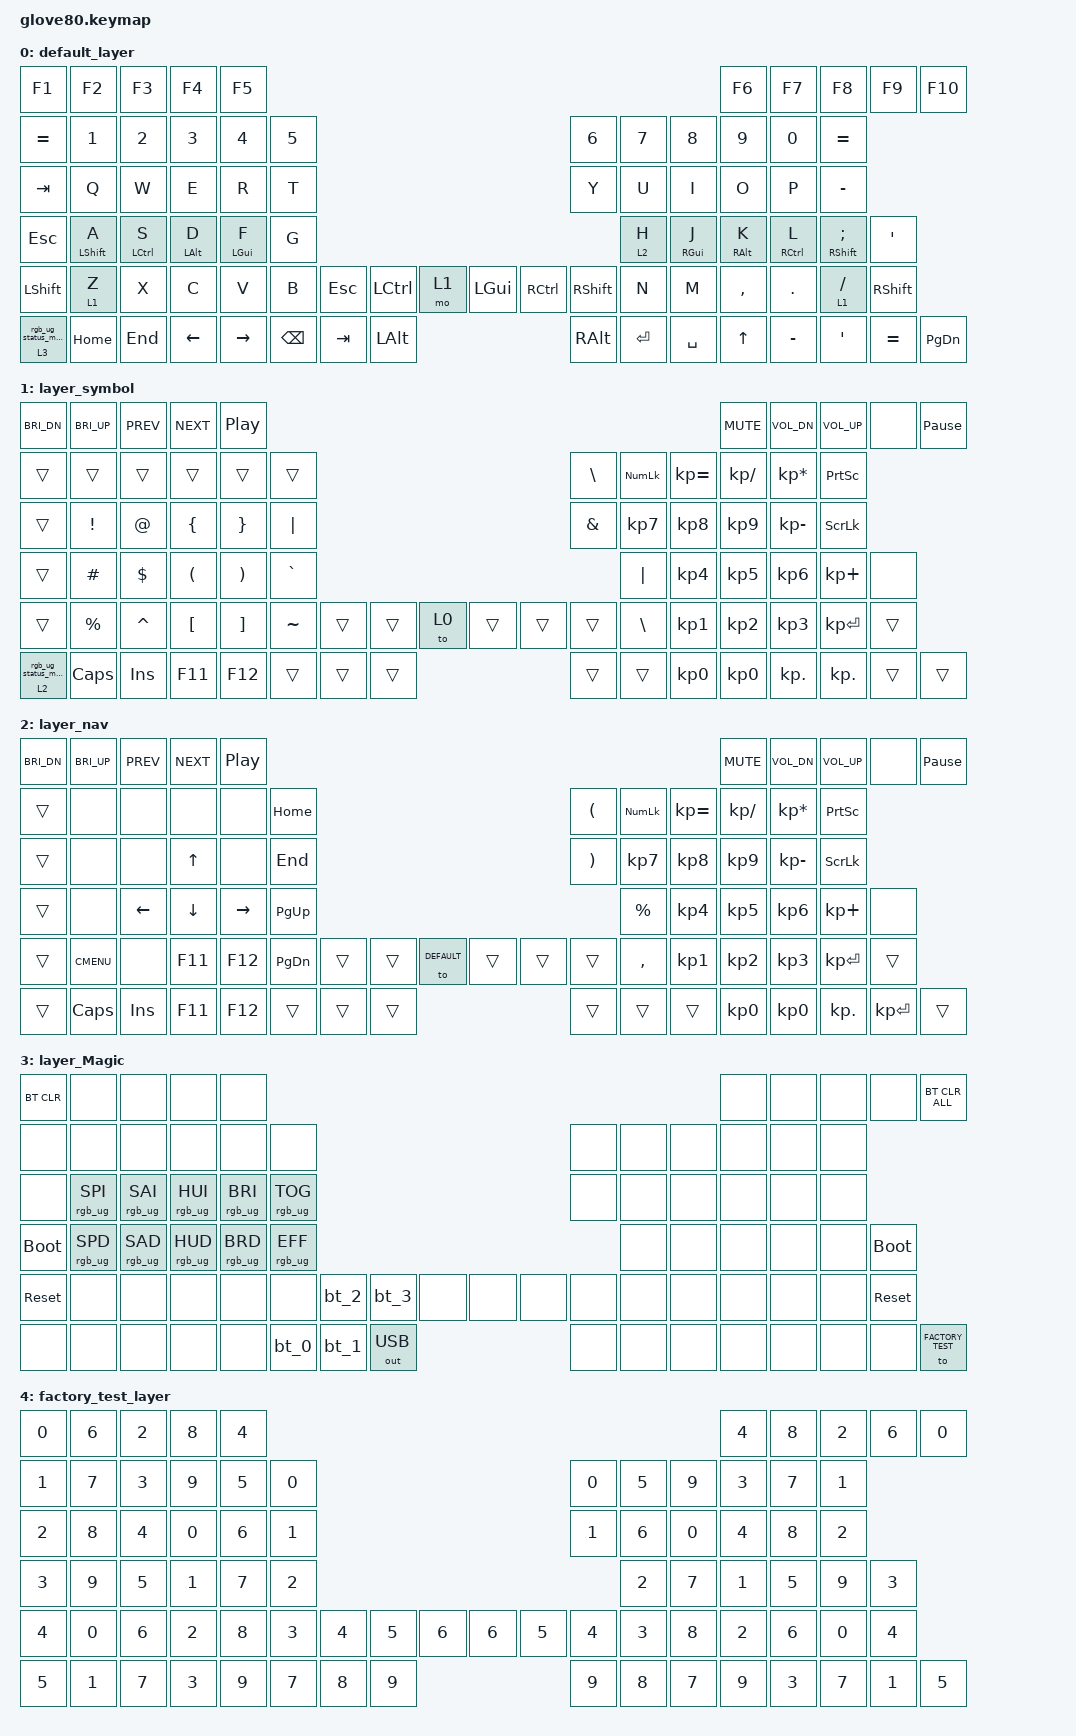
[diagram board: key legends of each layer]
/*
 * Copyright (c) 2020 The ZMK Contributors
 *
 * SPDX-License-Identifier: MIT
 */

#include <behaviors.dtsi>
#include <dt-bindings/zmk/keys.h>
#include <dt-bindings/zmk/bt.h>
#include <dt-bindings/zmk/ext_power.h>
#include <dt-bindings/zmk/outputs.h>
#include <dt-bindings/zmk/rgb.h>

#define HYPER LC(LS(LG(LALT)))

// layers
#define DEFAULT 0
#define LOWER 1
#define MAGIC 2
#define FACTORY_TEST 3

/ {
    behaviors {
        // For the "layer" key, it'd nice to be able to use it as either a shift or a toggle.
        // Configure it as a tap dance, so the first tap (or hold) is a &mo and the second tap is a &to
        layer_td: tap_dance_0 {
            compatible = "zmk,behavior-tap-dance";
            label = "LAYER_TAP_DANCE";
            #binding-cells = <0>;
            tapping-term-ms = <200>;
            bindings = <&mo LOWER>, <&to LOWER>;
        };

        magic: magic_hold_tap {
            compatible = "zmk,behavior-hold-tap";
            label = "MAGIC_HOLD_TAP";
            #binding-cells = <2>;
            flavor = "tap-preferred";
            tapping-term-ms = <200>;
            bindings = <&mo>, <&rgb_ug_status_macro>;
        };

       hm: homerow_mods {
          compatible = "zmk,behavior-hold-tap";
          label = "HOMEROW_MODS";
          #binding-cells = <2>;
          tapping-term-ms = <200>;
          quick_tap_ms = <175>;
          flavor = "tap-preferred";
          bindings = <&kp>, <&kp>;
      };
      
      bhm: balanced_homerow_mods {
            compatible = "zmk,behavior-hold-tap";
            label = "BHOMEROW_MODS";
            #binding-cells = <2>;
            tapping-term-ms = <170>;    // <---[[moderate duration]]
            quick-tap-ms = <0>;
            flavor = "balanced";
            bindings = <&kp>, <&kp>;
	    retro-tap;
       };
       
       ltb: balanced_layer_mods {
            compatible = "zmk,behavior-hold-tap";
            label = "BALANCED_LAYER_MODS";
            #binding-cells = <2>;
            tapping-term-ms = <170>;    // <---[[moderate duration]]
            quick-tap-ms = <0>;
            flavor = "balanced";
            bindings = <&mo>, <&kp>;
	    retro-tap;
       };

    };

    macros {
        rgb_ug_status_macro: rgb_ug_status_macro_0 {
            label = "RGB_UG_STATUS";
            compatible = "zmk,behavior-macro";
            #binding-cells = <0>;
            bindings
                = <&rgb_ug RGB_STATUS>;
        };

        bt_0: bt_profile_macro_0 {
            label = "BT_0";
            compatible = "zmk,behavior-macro";
            #binding-cells = <0>;
            bindings
                = <&out OUT_BLE>,
                  <&bt BT_SEL 0>;
        };

        bt_1: bt_profile_macro_1 {
            label = "BT_1";
            compatible = "zmk,behavior-macro";
            #binding-cells = <0>;
            bindings
                = <&out OUT_BLE>,
                  <&bt BT_SEL 1>;
        };

        bt_2: bt_profile_macro_2 {
            label = "BT_2";
            compatible = "zmk,behavior-macro";
            #binding-cells = <0>;
            bindings
                = <&out OUT_BLE>,
                  <&bt BT_SEL 2>;
        };

        bt_3: bt_profile_macro_3 {
            label = "BT_3";
            compatible = "zmk,behavior-macro";
            #binding-cells = <0>;
            bindings
                = <&out OUT_BLE>,
                  <&bt BT_SEL 3>;
        };
    };

    keymap {
        compatible = "zmk,keymap";

        default_layer {
            // ---------------------------------------------------------------------------------------------------------------------------------
            // |  F1   |  F2 |  F3 |  F4  |  F5  |                                                               |  F6   |  F7   |  F8  |   F9  |  F10 |
            // |  =    |  1  |  2  |  3   |  4   |  5   |                                                 |  6   |   7   |   8   |  9   |   0   |   -  |
            // |  TAB  |  Q  |  W  |  E   |  R   |  T   |                                                 |  Y   |   U   |   I   |  O   |   P   |   \  |
            // |  ESC  |  A  |  S  |  D   |  F   |  G   |                                                 |  H   |   J   |   K   |  L   |   ;   |   '  |
            // |   `   |  Z  |  X  |  C   |  V   |  B   | LSHFT | LCTRL | LOWER | | LGUI  | RCTRL | RSHFT |  N   |   M   |   ,   |  .   |   /   | PGUP |
            // | MAGIC | HOME| END | LEFT | RIGHT|      | BSPC  | DEL   | LALT  | | RALT  | RET   | SPACE |      |  UP   | DOWN  |  [   |   ]   | PGDN |

            bindings = <
     &kp F1    &kp F2   &kp F3    &kp F4     &kp F5                                                                                  &kp F6     &kp F7    &kp F8    &kp F9    &kp F10
  &kp EQUAL    &kp N1   &kp N2    &kp N3     &kp N4  &kp N5                                                                  &kp N6  &kp N7     &kp N8    &kp N9    &kp N0  &kp EQUAL
    &kp TAB     &kp Q   &kp W     &kp E      &kp R   &kp T                                                                   &kp Y   &kp U      &kp I     &kp O     &kp P   &kp MINUS
    &kp ESC     &bhm LSHIFT A   &hm LCTRL S     &hm LALT D      &hm LGUI F   &kp G                                                   &lt 2 H   &hm RGUI J      &hm RALT K     &hm RCTRL L  &bhm RSHIFT SEMI &kp SQT
  &kp LSHFT     &ltb 1 Z    &kp X     &kp C      &kp V   &kp B  &kp ESC  &kp LCTRL    &mo 1  &kp LGUI  &kp RCTRL  &kp RSHFT   &kp N   &kp M  &kp COMMA   &kp DOT  &ltb 1 FSLH  &kp RSHFT
 &magic 3 0  &kp HOME  &kp END  &kp LEFT  &kp RIGHT           &kp BSPC    &kp TAB  &kp LALT  &kp RALT    &kp RET  &kp SPACE          &kp UP   &kp MINUS  &kp SQT  &kp EQUAL  &kp PG_DN
            >;
        };

        layer_symbol {
            bindings = <
 &kp C_BRI_DN   &kp C_BRI_UP    &kp C_PREV      &kp C_NEXT         &kp C_PP                                                                                    &kp C_MUTE  &kp C_VOL_DN  &kp C_VOL_UP            &none  &kp PAUSE_BREAK
       &trans   &trans       &trans     &trans      &trans     &trans                                                  &kp BSLH  &kp KP_NUM  &kp KP_EQUAL  &kp KP_SLASH  &kp KP_MULTIPLY  &kp PRINTSCREEN
       &trans   &kp EXCL     &kp AT     &kp LBRC    &kp RBRC   &kp PIPE                                               &kp AMPS   &kp KP_N7   &kp KP_N8     &kp KP_N9     &kp KP_MINUS   &kp SCROLLLOCK
       &trans   &kp HASH     &kp DLLR   &kp LPAR    &kp RPAR   &kp GRAV                                                          &kp PIPE    &kp KP_N4     &kp KP_N5     &kp KP_N6      &kp KP_PLUS            &none
       &trans   &kp PRCNT    &kp CARET  &kp LBKT    &kp RBKT   &kp TILDE &trans  &trans   &to 0  &trans  &trans  &trans          &kp BSLH    &kp KP_N1     &kp KP_N2     &kp KP_N3     &kp KP_ENTER           &trans
   &magic 2 0      &kp CAPS         &kp INS         &kp F11          &kp F12             &trans  &trans  &trans  &trans  &trans  &kp KP_N0        &kp KP_N0     &kp KP_DOT    &kp KP_DOT     &trans           &trans
            >;
        };
        layer_nav {
            bindings = <
            &kp C_BRI_DN      &kp C_BRI_UP        &kp C_PREV      &kp C_NEXT      &kp C_PP                                                                                                           &kp C_MUTE   &kp C_VOL_DN &kp C_VOL_UP  &none           &kp PAUSE_BREAK
            &trans            &none               &none           &none           &none           &kp HOME                                                                              &kp LPAR     &kp KP_NUM   &kp KP_EQUAL &kp KP_DIVIDE &kp KP_MULTIPLY &kp PSCRN
            &trans            &none               &none           &kp UP          &none           &kp END                                                                               &kp RPAR     &kp KP_N7    &kp KP_N8    &kp KP_N9     &kp KP_MINUS    &kp SLCK
            &trans            &none               &kp LEFT        &kp DOWN        &kp RIGHT       &kp PG_UP                                                                             &kp PRCNT    &kp KP_N4    &kp KP_N5    &kp KP_N6     &kp KP_PLUS     &none
            &trans            &kp K_CMENU         &none           &kp F11         &kp F12         &kp PG_DN       &trans      &trans      &to DEFAULT &trans      &trans      &trans    &kp COMMA    &kp KP_N1    &kp KP_N2    &kp KP_N3     &kp KP_ENTER    &trans
            &trans            &kp CAPS            &kp INS         &kp F11         &kp F12                         &trans      &trans      &trans      &trans      &trans      &trans                 &kp KP_N0    &kp KP_N0    &kp KP_DOT    &kp KP_ENTER    &trans
            >;
        };
        layer_Magic {
            bindings = <
            &bt BT_CLR        &none               &none           &none           &none                                                                                                           &none      &none      &none      &none      &bt BT_CLR_ALL
            &none             &none               &none           &none           &none           &none                                                                                &none      &none      &none      &none      &none      &none
            &none             &rgb_ug RGB_SPI     &rgb_ug RGB_SAI &rgb_ug RGB_HUI &rgb_ug RGB_BRI &rgb_ug RGB_TOG                                                                      &none      &none      &none      &none      &none      &none
            &bootloader       &rgb_ug RGB_SPD     &rgb_ug RGB_SAD &rgb_ug RGB_HUD &rgb_ug RGB_BRD &rgb_ug RGB_EFF                                                                      &none      &none      &none      &none      &none      &bootloader
            &sys_reset        &none               &none           &none           &none           &none           &bt_2     &bt_3     &none            &none     &none     &none       &none      &none      &none      &none      &none      &sys_reset
            &none             &none               &none           &none           &none                           &bt_0     &bt_1     &out OUT_USB     &none     &none     &none                  &none      &none      &none      &none      &to FACTORY_TEST
            >;
        };

        factory_test_layer {
            bindings = <
            &kp N0   &kp N6   &kp N2   &kp N8   &kp N4                                                                              &kp N4   &kp N8   &kp N2   &kp N6   &kp N0
            &kp N1   &kp N7   &kp N3   &kp N9   &kp N5   &kp N0                                                            &kp N0   &kp N5   &kp N9   &kp N3   &kp N7   &kp N1
            &kp N2   &kp N8   &kp N4   &kp N0   &kp N6   &kp N1                                                            &kp N1   &kp N6   &kp N0   &kp N4   &kp N8   &kp N2
            &kp N3   &kp N9   &kp N5   &kp N1   &kp N7   &kp N2                                                            &kp N2   &kp N7   &kp N1   &kp N5   &kp N9   &kp N3
            &kp N4   &kp N0   &kp N6   &kp N2   &kp N8   &kp N3   &kp N4   &kp N5   &kp N6      &kp N6   &kp N5   &kp N4   &kp N3   &kp N8   &kp N2   &kp N6   &kp N0   &kp N4
            &kp N5   &kp N1   &kp N7   &kp N3   &kp N9            &kp N7   &kp N8   &kp N9      &kp N9   &kp N8   &kp N7            &kp N9   &kp N3   &kp N7   &kp N1   &kp N5
            >;
        };
    };
};
